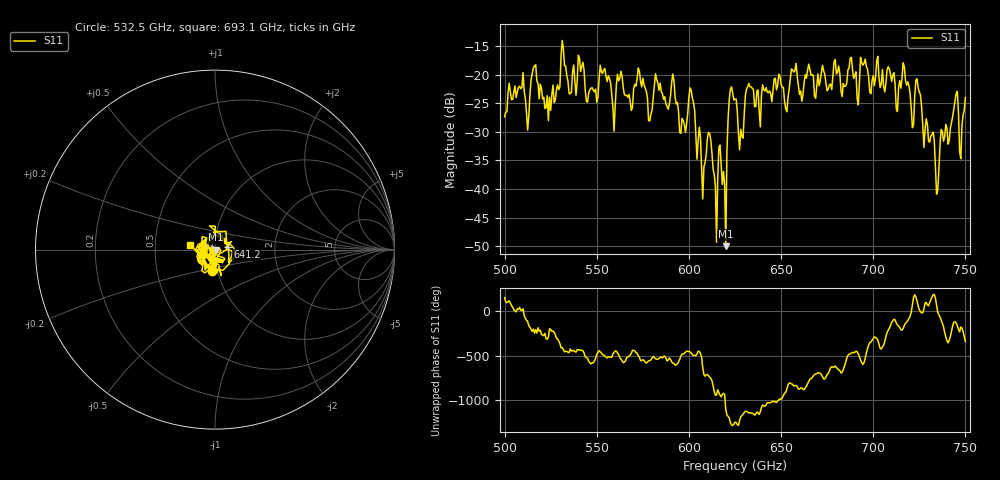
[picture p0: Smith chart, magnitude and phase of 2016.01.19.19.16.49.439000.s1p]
!Created with skrf (http://scikit-rf.org).
# GHz S RI R 50.0
!freq ReS11 ImS11
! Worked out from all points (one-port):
!   401 points, 500 GHz to 750 GHz, reference 50 ohm
!   lowest |S11| = -50.0 dB at 620 GHz (marker M1), VSWR 1.01, Z = 50.3 - j0.119 ohm
!   |S11| at or under -10 dB: start of sweep to end of sweep
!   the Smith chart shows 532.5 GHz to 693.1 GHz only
!   S11 on the Smith chart (normalised r, x): 532.5 GHz: 0.94, -0.23; 641.2 GHz: 1.15, +0.04; 693.1 GHz: 0.75, +0.04
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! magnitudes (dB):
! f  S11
! 500 GHz  -27.4
! 512.5 GHz  -29.7
! 515.6 GHz  -18.8
! 523.8 GHz  -28.0
! 531.2 GHz  -14.0
! 532.5 GHz  -18.4
! 559.4 GHz  -29.9
! 562.5 GHz  -20.6
! 593.8 GHz  -24.9
! 601.2 GHz  -22.8
! 608.1 GHz  -36.1
! 611.2 GHz  -30.3
! 614.4 GHz  -39.5
! 620 GHz  -50.0
! 622.5 GHz  -22.5
! 625 GHz  -24.3
! 628.1 GHz  -29.6
! 631.9 GHz  -22.1
! 641.2 GHz  -22.8
! 656.2 GHz  -19.2
! 687.5 GHz  -17.2
! 693.1 GHz  -16.9
! 718.8 GHz  -21.3
! 724.4 GHz  -22.3
! 735 GHz  -40.1
! 744.4 GHz  -24.6
! 747.5 GHz  -34.7
! 750 GHz  -24.0
